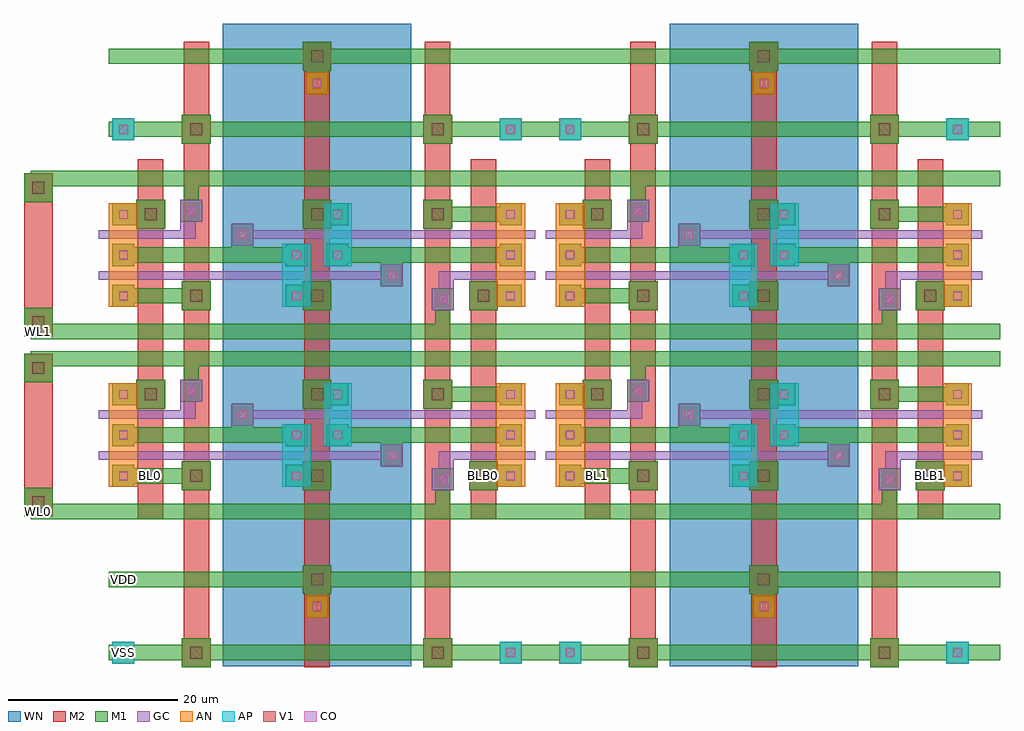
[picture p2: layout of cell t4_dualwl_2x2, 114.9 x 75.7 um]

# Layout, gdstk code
import gdstk
lib = gdstk.Library(unit=1e-6, precision=1e-07)
def R(c, l, rs):  # rectangles x0, y0, x1, y1
    for r in rs: c.add(gdstk.rectangle(r[:2], r[2:], *l))
def A(c, l, x, y, w, h, nx, ny, dx, dy):  # array of equal rectangles
    R(c, l, [(x+i*dx, y+j*dy, x+i*dx+w, y+j*dy+h) for i in range(nx) for j in range(ny)])
def P(c, l, *ps):  # polygons
    for p in ps: c.add(gdstk.Polygon(p, *l))
AP = (3, 1)
AN = (3, 2)
GC = (8, 1)
CO = (11, 0)
M1 = (13, 0)
V1 = (19, 0)
M2 = (20, 0)
WN = (140, 0)

t4_core = lib.new_cell('t4_core')
R(t4_core, AP, [(18.7,-1.3,22.1,6.1), (23.5,3.5,26.9,10.9)])
R(t4_core, AN, [(-1.7,-1.3,1.7,10.9), (43.9,-1.3,47.3,10.9)])
P(t4_core, GC, [(36.3,-1.7),(36.3,0.9),(37.1,0.9),(37.1,2.9),(48.5,2.9),(48.5,1.9),(38.9,1.9),(38.9,-1.7)],
  [(30.3,1.1),(30.3,1.9),(-2.9,1.9),(-2.9,2.9),(30.3,2.9),(30.3,3.7),(32.9,3.7),(32.9,1.1)],
  [(12.7,5.9),(12.7,8.5),(15.3,8.5),(15.3,7.7),(48.5,7.7),(48.5,6.7),(15.3,6.7),(15.3,5.9)],
  [(-2.9,6.7),(-2.9,7.7),(6.7,7.7),(6.7,11.3),(9.3,11.3),(9.3,8.7),(8.5,8.7),(8.5,6.7)])
A(t4_core, CO, -0.5, -0.5, 1, 1, 1, 3, 0, 4.8)
A(t4_core, CO, 45.1, -0.5, 1, 1, 1, 3, 0, 4.8)
R(t4_core, CO, [(37.1,-0.9,38.1,0.1), (19.9,-0.5,20.9,0.5), (31.1,1.9,32.1,2.9), (19.9,4.3,20.9,5.3), (24.7,4.3,25.7,5.3), (13.5,6.7,14.5,7.7), (24.7,9.1,25.7,10.1), (7.5,9.5,8.5,10.5)])
P(t4_core, M1, [(-2,-5.1),(-2,-3.3),(36.7,-3.3),(36.7,-1.7),(36.3,-1.7),(36.3,0.9),(38.9,0.9),(38.9,-1.7),(38.5,-1.7),(38.5,-3.3),(50.6,-3.3),(50.6,-5.1)],
  [(6.9,-1.7),(6.9,-0.9),(1.3,-0.9),(1.3,-1.3),(-1.3,-1.3),(-1.3,1.3),(1.3,1.3),(1.3,0.9),(6.9,0.9),(6.9,1.7),(10.3,1.7),(10.3,-1.7)],
  [(21.1,-1.7),(21.1,-1.3),(19.1,-1.3),(19.1,1.3),(21.1,1.3),(21.1,1.7),(24.5,1.7),(24.5,-1.7)],
  [(40.7,-1.7),(40.7,1.7),(44.1,1.7),(44.1,1.3),(46.9,1.3),(46.9,-1.3),(44.1,-1.3),(44.1,-1.7)],
  [(30.3,1.1),(30.3,3.9),(26.5,3.9),(26.5,3.5),(23.9,3.5),(23.9,6.1),(26.5,6.1),(26.5,5.7),(44.3,5.7),(44.3,6.1),(46.9,6.1),(46.9,3.5),(44.3,3.5),(44.3,3.9),(32.9,3.9),(32.9,1.1)],
  [(-1.3,3.5),(-1.3,6.1),(1.3,6.1),(1.3,5.7),(12.7,5.7),(12.7,8.5),(15.3,8.5),(15.3,5.7),(19.1,5.7),(19.1,6.1),(21.7,6.1),(21.7,3.5),(19.1,3.5),(19.1,3.9),(1.3,3.9),(1.3,3.5)],
  [(1.5,7.9),(1.5,8.3),(-1.3,8.3),(-1.3,10.9),(1.5,10.9),(1.5,11.3),(4.9,11.3),(4.9,7.9)],
  [(21.1,7.9),(21.1,11.3),(24.5,11.3),(24.5,10.9),(26.5,10.9),(26.5,8.3),(24.5,8.3),(24.5,7.9)],
  [(35.3,7.9),(35.3,11.3),(38.7,11.3),(38.7,10.5),(44.3,10.5),(44.3,10.9),(46.9,10.9),(46.9,8.3),(44.3,8.3),(44.3,8.7),(38.7,8.7),(38.7,7.9)],
  [(6.7,8.7),(6.7,11.3),(7.1,11.3),(7.1,12.9),(-2,12.9),(-2,14.7),(50.6,14.7),(50.6,12.9),(8.9,12.9),(8.9,11.3),(9.3,11.3),(9.3,8.7)])
R(t4_core, V1, [(7.9,-0.7,9.3,0.7), (22.1,-0.7,23.5,0.7), (41.7,-0.7,43.1,0.7), (2.5,8.9,3.9,10.3), (22.1,8.9,23.5,10.3), (36.3,8.9,37.7,10.3)])
A(t4_core, M2, 7.1, -5.1, 3, 21.2, 3, 1, 14.2, 0)
R(t4_core, M2, [(1.7,-5.1,4.7,16.1), (40.9,-5.1,43.9,16.1), (6.9,-1.7,10.3,1.7), (21.1,-1.7,24.5,1.7), (40.7,-1.7,44.1,1.7), (1.5,7.9,4.9,11.3), (21.1,7.9,24.5,11.3), (35.3,7.9,38.7,11.3)])
R(t4_core, WN, [(11.7,-8.3,33.9,17.9)])

t4_dualwl_2x2 = lib.new_cell('t4_dualwl_2x2')
R(t4_dualwl_2x2, AP, [(-1.3,-22.1,1.3,-19.5), (44.3,-22.1,46.9,-19.5), (51.3,-22.1,53.9,-19.5), (96.9,-22.1,99.5,-19.5), (-1.3,39.5,1.3,42.1), (44.3,39.5,46.9,42.1), (51.3,39.5,53.9,42.1), (96.9,39.5,99.5,42.1)])
R(t4_dualwl_2x2, AN, [(21.5,-16.7,24.1,-14.1), (74.1,-16.7,76.7,-14.1), (21.5,44.9,24.1,47.5), (74.1,44.9,76.7,47.5)])
R(t4_dualwl_2x2, CO, [(-0.5,-21.3,0.5,-20.3), (45.1,-21.3,46.1,-20.3), (52.1,-21.3,53.1,-20.3), (97.7,-21.3,98.7,-20.3), (22.3,-15.9,23.3,-14.9), (74.9,-15.9,75.9,-14.9), (-0.5,40.3,0.5,41.3), (45.1,40.3,46.1,41.3), (52.1,40.3,53.1,41.3), (97.7,40.3,98.7,41.3), (22.3,45.7,23.3,46.7), (74.9,45.7,75.9,46.7)])
P(t4_dualwl_2x2, M1, [(6.9,-22.5),(6.9,-21.7),(1.3,-21.7),(1.3,-22.1),(-1.3,-22.1),(-1.3,-21.7),(-1.7,-21.7),(-1.7,-19.9),(-1.3,-19.9),(-1.3,-19.5),(1.3,-19.5),(1.3,-19.9),(6.9,-19.9),(6.9,-19.1),(10.3,-19.1),(10.3,-19.9),(35.3,-19.9),(35.3,-19.1),(38.7,-19.1),(38.7,-19.9),(44.3,-19.9),(44.3,-19.5),(46.9,-19.5),(46.9,-19.9),(51.3,-19.9),(51.3,-19.5),(53.9,-19.5),(53.9,-19.9),(59.5,-19.9),(59.5,-19.1),(62.9,-19.1),(62.9,-19.9),(87.9,-19.9),(87.9,-19.1),(91.3,-19.1),(91.3,-19.9),(96.9,-19.9),(96.9,-19.5),(99.5,-19.5),(99.5,-19.9),(103.2,-19.9),(103.2,-21.7),(99.5,-21.7),(99.5,-22.1),(96.9,-22.1),(96.9,-21.7),(91.3,-21.7),(91.3,-22.5),(87.9,-22.5),(87.9,-21.7),(62.9,-21.7),(62.9,-22.5),(59.5,-22.5),(59.5,-21.7),(53.9,-21.7),(53.9,-22.1),(51.3,-22.1),(51.3,-21.7),(46.9,-21.7),(46.9,-22.1),(44.3,-22.1),(44.3,-21.7),(38.7,-21.7),(38.7,-22.5),(35.3,-22.5),(35.3,-21.7),(10.3,-21.7),(10.3,-22.5)],
  [(21.5,-16.7),(21.5,-13.9),(21.1,-13.9),(21.1,-13.1),(-1.7,-13.1),(-1.7,-11.3),(21.1,-11.3),(21.1,-10.5),(24.5,-10.5),(24.5,-11.3),(73.7,-11.3),(73.7,-10.5),(77.1,-10.5),(77.1,-11.3),(103.2,-11.3),(103.2,-13.1),(77.1,-13.1),(77.1,-13.9),(76.7,-13.9),(76.7,-16.7),(74.1,-16.7),(74.1,-13.9),(73.7,-13.9),(73.7,-13.1),(24.5,-13.1),(24.5,-13.9),(24.1,-13.9),(24.1,-16.7)],
  [(-10.9,-5.1),(-10.9,-4.8),(-11.7,-4.8),(-11.7,-1.4),(-8.3,-1.4),(-8.3,-3.3),(-1.1,-3.3),(-1.1,-5.1)],
  [(-11.7,11),(-11.7,14.4),(-10.9,14.4),(-10.9,14.7),(-1.1,14.7),(-1.1,12.9),(-8.3,12.9),(-8.3,11)],
  [(-10.9,16.1),(-10.9,16.4),(-11.7,16.4),(-11.7,19.8),(-8.3,19.8),(-8.3,17.9),(-1.1,17.9),(-1.1,16.1)],
  [(-11.7,32.2),(-11.7,35.6),(-10.9,35.6),(-10.9,35.9),(-1.1,35.9),(-1.1,34.1),(-8.3,34.1),(-8.3,32.2)],
  [(6.9,39.1),(6.9,39.9),(1.3,39.9),(1.3,39.5),(-1.3,39.5),(-1.3,39.9),(-1.7,39.9),(-1.7,41.7),(-1.3,41.7),(-1.3,42.1),(1.3,42.1),(1.3,41.7),(6.9,41.7),(6.9,42.5),(10.3,42.5),(10.3,41.7),(35.3,41.7),(35.3,42.5),(38.7,42.5),(38.7,41.7),(44.3,41.7),(44.3,42.1),(46.9,42.1),(46.9,41.7),(51.3,41.7),(51.3,42.1),(53.9,42.1),(53.9,41.7),(59.5,41.7),(59.5,42.5),(62.9,42.5),(62.9,41.7),(87.9,41.7),(87.9,42.5),(91.3,42.5),(91.3,41.7),(96.9,41.7),(96.9,42.1),(99.5,42.1),(99.5,41.7),(103.2,41.7),(103.2,39.9),(99.5,39.9),(99.5,39.5),(96.9,39.5),(96.9,39.9),(91.3,39.9),(91.3,39.1),(87.9,39.1),(87.9,39.9),(62.9,39.9),(62.9,39.1),(59.5,39.1),(59.5,39.9),(53.9,39.9),(53.9,39.5),(51.3,39.5),(51.3,39.9),(46.9,39.9),(46.9,39.5),(44.3,39.5),(44.3,39.9),(38.7,39.9),(38.7,39.1),(35.3,39.1),(35.3,39.9),(10.3,39.9),(10.3,39.1)],
  [(21.5,44.9),(21.5,47.7),(21.1,47.7),(21.1,48.5),(-1.7,48.5),(-1.7,50.3),(21.1,50.3),(21.1,51.1),(24.5,51.1),(24.5,50.3),(73.7,50.3),(73.7,51.1),(77.1,51.1),(77.1,50.3),(103.2,50.3),(103.2,48.5),(77.1,48.5),(77.1,47.7),(76.7,47.7),(76.7,44.9),(74.1,44.9),(74.1,47.7),(73.7,47.7),(73.7,48.5),(24.5,48.5),(24.5,47.7),(24.1,47.7),(24.1,44.9)])
R(t4_dualwl_2x2, V1, [(7.9,-21.5,9.3,-20.1), (36.3,-21.5,37.7,-20.1), (60.5,-21.5,61.9,-20.1), (88.9,-21.5,90.3,-20.1), (22.1,-12.9,23.5,-11.5), (74.7,-12.9,76.1,-11.5), (-10.7,-3.8,-9.3,-2.4), (-10.7,12,-9.3,13.4), (-10.7,17.4,-9.3,18.8), (-10.7,33.2,-9.3,34.6), (7.9,40.1,9.3,41.5), (36.3,40.1,37.7,41.5), (60.5,40.1,61.9,41.5), (88.9,40.1,90.3,41.5), (22.1,48.7,23.5,50.1), (74.7,48.7,76.1,50.1)])
A(t4_dualwl_2x2, M2, 7.1, -22.5, 3, 73.6, 3, 1, 14.2, 0)
A(t4_dualwl_2x2, M2, 59.7, -22.5, 3, 73.6, 3, 1, 14.2, 0)
R(t4_dualwl_2x2, M2, [(6.9,-22.5,10.3,-19.1), (35.3,-22.5,38.7,-19.1), (59.5,-22.5,62.9,-19.1), (87.9,-22.5,91.3,-19.1), (21.1,-13.9,24.5,-10.5), (73.7,-13.9,77.1,-10.5), (-11.7,-4.8,-8.3,-1.4), (-11.7,-4.8,-8.3,14.4), (-11.7,11,-8.3,14.4), (-11.7,16.4,-8.3,19.8), (-11.7,16.4,-8.3,35.6), (-11.7,32.2,-8.3,35.6), (6.9,39.1,10.3,42.5), (35.3,39.1,38.7,42.5), (59.5,39.1,62.9,42.5), (87.9,39.1,91.3,42.5), (21.1,47.7,24.5,51.1), (73.7,47.7,77.1,51.1)])
R(t4_dualwl_2x2, WN, [(11.7,-22.4,33.9,53.2), (64.3,-22.4,86.5,53.2)])
t4_dualwl_2x2.add(gdstk.Reference(t4_core, (0,0)))
t4_dualwl_2x2.add(gdstk.Reference(t4_core, (52.6,0)))
t4_dualwl_2x2.add(gdstk.Reference(t4_core, (0,21.2)))
t4_dualwl_2x2.add(gdstk.Reference(t4_core, (52.6,21.2)))
t4_dualwl_2x2.add(gdstk.Label('WL0', (-10,-4.2), layer=48, texttype=0))
t4_dualwl_2x2.add(gdstk.Label('WL1', (-10,17), layer=48, texttype=0))
t4_dualwl_2x2.add(gdstk.Label('VDD', (0,-12.2), layer=48, texttype=0))
t4_dualwl_2x2.add(gdstk.Label('VSS', (0,-20.8), layer=48, texttype=0))
t4_dualwl_2x2.add(gdstk.Label('BL0', (3.2,0), layer=49, texttype=0))
t4_dualwl_2x2.add(gdstk.Label('BLB0', (42.4,0), layer=49, texttype=0))
t4_dualwl_2x2.add(gdstk.Label('BL1', (55.8,0), layer=49, texttype=0))
t4_dualwl_2x2.add(gdstk.Label('BLB1', (95,0), layer=49, texttype=0))

lib.write_gds('t4_dualwl_2x2.gds')
